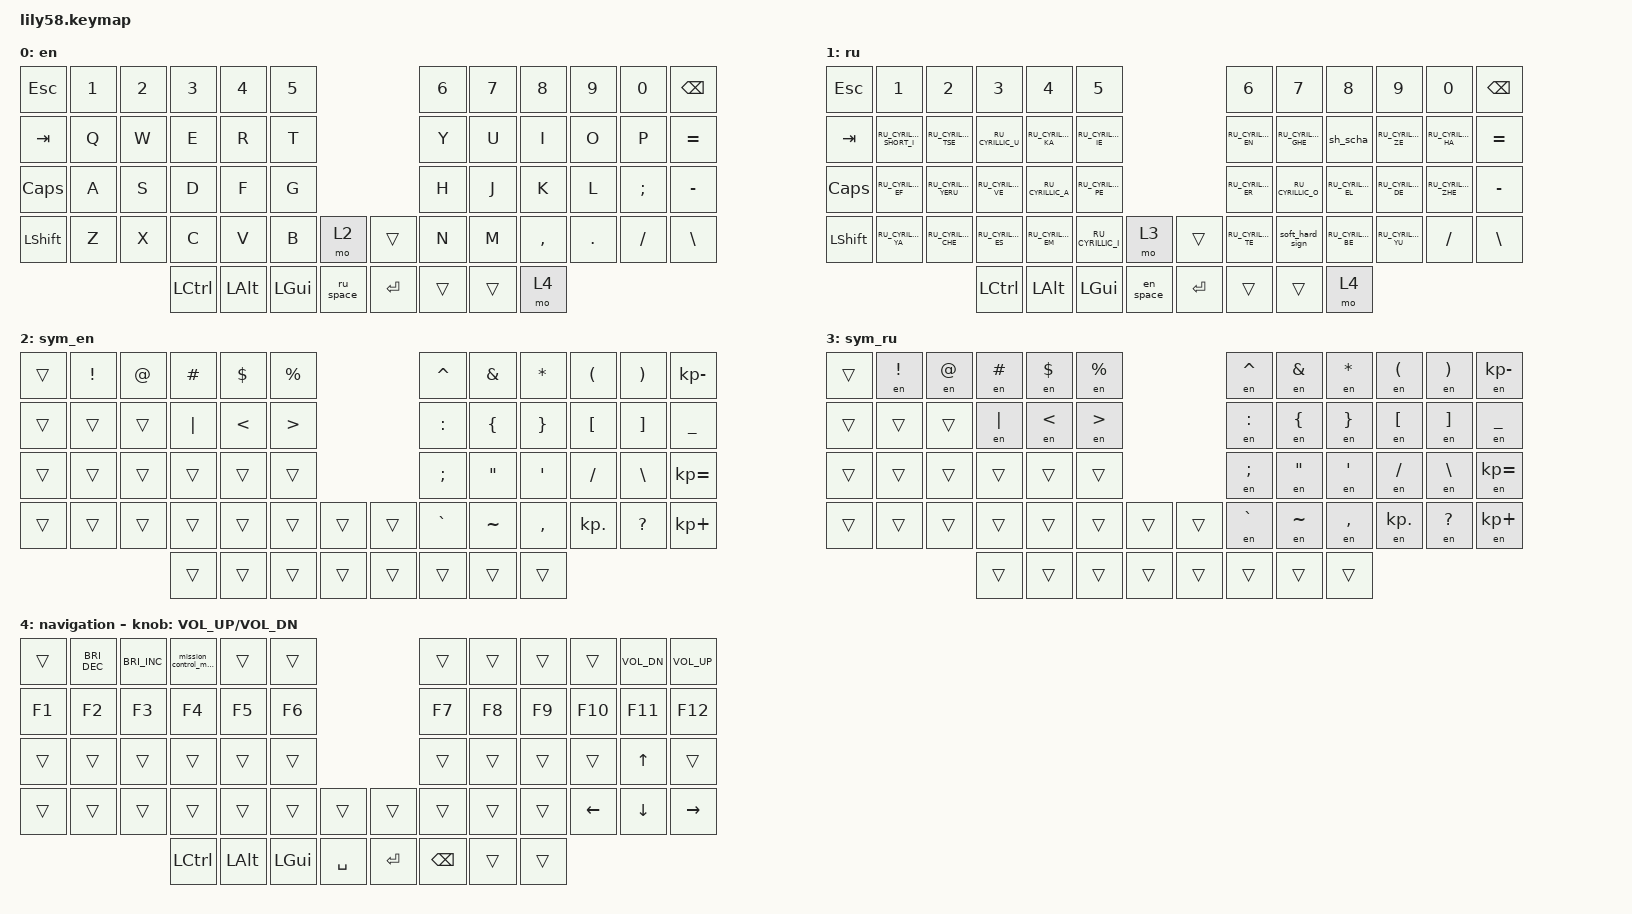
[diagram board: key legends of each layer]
/*
 * Copyright (c) 2020 The ZMK Contributors
 *
 * SPDX-License-Identifier: MIT
 */

#include "keys_ru.h"
#include <behaviors.dtsi>
#include <dt-bindings/zmk/keys.h>

&mt {
    tapping-term-ms = <300>;
    flavor = "tap-preferred";
};

/ {
    combos { compatible = "zmk,combos"; };

    behaviors {
        ss_hs_modmorph: ss_hs_modmorph {
            compatible = "zmk,behavior-mod-morph";
            label = "SS_HS_MODMORPH";
            bindings = <&kp M>, <&kp RIGHT_BRACKET>;

            #binding-cells = <0>;
            mods = <(MOD_LSFT|MOD_RSFT)>;
        };

        kh_hs_tapdance: kh_hs_tapdance {
            compatible = "zmk,behavior-tap-dance";
            label = "KH_HS_TAPDANCE";
            #binding-cells = <0>;
            tapping-term-ms = <200>;
            bindings = <&kp LEFT_BRACKET>, <&kp RIGHT_BRACKET>;
        };

        hrm: hrm {
            compatible = "zmk,behavior-hold-tap";
            #binding-cells = <2>;
            flavor = "tap-preferred";
            tapping-term-ms = <200>;
            quick-tap-ms = <200>;
            require-prior-idle-ms = <125>;
            bindings = <&kp>, <&kp>;
        };

        sh_scha: sh_scha {
            compatible = "zmk,behavior-tap-dance";
            label = "SH_SCHA";
            #binding-cells = <0>;
            bindings = <&kp RU_CYRILLIC_SHA>, <&kp RU_CYRILLIC_SHCHA>;
        };

        soft_hard_sign: soft_hard_sign {
            compatible = "zmk,behavior-tap-dance";
            label = "SOFT_HARD_SIGN";
            #binding-cells = <0>;
            bindings = <&kp RU_CYRILLIC_SOFT_SIGN>, <&kp RU_CYRILLIC_HARD_SIGN>;
        };

        en_space: en_space {
            compatible = "zmk,behavior-mod-morph";
            label = "EN_SPACE";
            bindings = <&kp SPACE>, <&layer_en>;

            #binding-cells = <0>;
            mods = <(MOD_LGUI)>;
        };

        ru_space: ru_space {
            compatible = "zmk,behavior-mod-morph";
            label = "RU_SPACE";
            bindings = <&kp SPACE>, <&layer_ru>;

            #binding-cells = <0>;
            mods = <(MOD_LGUI)>;
        };
    };

    macros {
        mission_control_mac_os: mission_control_mac_os {
            compatible = "zmk,behavior-macro";
            #binding-cells = <0>;
            bindings =
                <&macro_press>,
                <&kp LCTRL &kp UP_ARROW>,
                <&macro_release>,
                <&kp LCTRL &kp UP_ARROW>;

            label = "MISSION_CONTROL_MAC_OS";
        };

        to_ru: to_ru {
            compatible = "zmk,behavior-macro";
            #binding-cells = <0>;
            bindings = <&kp LC(LS(NUMBER_2))>;
            label = "TO_RU";
        };

        to_en: to_en {
            compatible = "zmk,behavior-macro";
            #binding-cells = <0>;
            bindings = <&kp LS(LC(N1))>;
            label = "TO_EN";
        };

        layer_en: layer_en {
            compatible = "zmk,behavior-macro";
            #binding-cells = <0>;
            bindings = <&to 0 &to_en>;
            label = "LAYER_EN";
        };

        layer_ru: layer_ru {
            compatible = "zmk,behavior-macro";
            #binding-cells = <0>;
            bindings = <&to 1 &to_ru>;
            label = "LAYER_RU";
        };

        lg_tog: lg_tog {
            compatible = "zmk,behavior-macro";
            #binding-cells = <0>;
            bindings = <&kp LG(SPACE) &tog 1>;
            label = "LG_TOG";
        };

        en: en {
            compatible = "zmk,behavior-macro-one-param";
            #binding-cells = <1>;
            bindings =
                <&to_en &macro_param_1to1 &kp MACRO_PLACEHOLDER>,
                <&macro_wait_time 5>,
                <&to_ru>,
                <&macro_wait_time 5>;

            label = "EN";
        };
    };

    keymap {
        compatible = "zmk,keymap";

        en {
            // ------------------------------------------------------------------------------------------------------------
            // |  ESC  |  1  |  2  |  3   |  4   |  5   |                   |  6   |  7    |  8    |  9   |   0   |   `   |
            // |  TAB  |  Q  |  W  |  E   |  R   |  T   |                   |  Y   |  U    |  I    |  O   |   P   |   -   |
            // |  CTRL |  A  |  S  |  D   |  F   |  G   |                   |  H   |  J    |  K    |  L   |   ;   |   '   |
            // | SHIFT |  Z  |  X  |  C   |  V   |  B   |   "["  |  |  "]"  |  N   |  M    |  ,    |  .   |   /   | SHIFT |
            //                     | ALT  | GUI  | LOWER|  SPACE |  | ENTER | RAISE| BSPC  | GUI   |

            bindings = <
&kp ESC         &kp N1  &kp N2  &kp N3     &kp N4    &kp N5                          &kp N6  &kp N7  &kp N8     &kp N9   &kp N0    &kp BACKSPACE
&kp TAB         &kp Q   &kp W   &kp E      &kp R     &kp T                           &kp Y   &kp U   &kp I      &kp O    &kp P     &kp EQUAL
&kp CAPS        &kp A   &kp S   &kp D      &kp F     &kp G                           &kp H   &kp J   &kp K      &kp L    &kp SEMI  &kp MINUS
&kp LEFT_SHIFT  &kp Z   &kp X   &kp C      &kp V     &kp B     &mo 2        &trans   &kp N   &kp M   &kp COMMA  &kp DOT  &kp FSLH  &kp BACKSLASH
                                &kp LCTRL  &kp LALT  &kp LGUI  &ru_space    &kp RET  &trans  &trans  &mo 4
            >;
        };

        ru {
            bindings = <
&kp ESC       &kp N1                   &kp N2                &kp N3              &kp N4              &kp N5                                    &kp N6              &kp N7               &kp N8              &kp N9              &kp N0               &kp BACKSPACE
&kp TAB       &kp RU_CYRILLIC_SHORT_I  &kp RU_CYRILLIC_TSE   &kp RU_CYRILLIC_U   &kp RU_CYRILLIC_KA  &kp RU_CYRILLIC_IE                        &kp RU_CYRILLIC_EN  &kp RU_CYRILLIC_GHE  &sh_scha            &kp RU_CYRILLIC_ZE  &kp RU_CYRILLIC_HA   &kp EQUAL
&kp CAPSLOCK  &kp RU_CYRILLIC_EF       &kp RU_CYRILLIC_YERU  &kp RU_CYRILLIC_VE  &kp RU_CYRILLIC_A   &kp RU_CYRILLIC_PE                        &kp RU_CYRILLIC_ER  &kp RU_CYRILLIC_O    &kp RU_CYRILLIC_EL  &kp RU_CYRILLIC_DE  &kp RU_CYRILLIC_ZHE  &kp MINUS
&kp LSHIFT    &kp RU_CYRILLIC_YA       &kp RU_CYRILLIC_CHE   &kp RU_CYRILLIC_ES  &kp RU_CYRILLIC_EM  &kp RU_CYRILLIC_I   &mo 3        &trans   &kp RU_CYRILLIC_TE  &soft_hard_sign      &kp RU_CYRILLIC_BE  &kp RU_CYRILLIC_YU  &kp FSLH             &kp BACKSLASH
                                                             &kp LCTRL           &kp LALT            &kp LGUI            &en_space    &kp RET  &trans              &trans               &mo 4
            >;
        };

        sym_en {
            bindings = <
&trans  &kp EXCL  &kp AT  &kp HASH  &kp DOLLAR     &kp PERCENT                         &kp CARET      &kp AMPERSAND   &kp ASTERISK     &kp LPAR          &kp RPAR           &kp KP_MINUS
&trans  &trans    &trans  &kp PIPE  &kp LESS_THAN  &kp GREATER_THAN                    &kp COLON      &kp LEFT_BRACE  &kp RIGHT_BRACE  &kp LEFT_BRACKET  &kp RIGHT_BRACKET  &kp UNDERSCORE
&trans  &trans    &trans  &trans    &trans         &trans                              &kp SEMICOLON  &kp DQT         &kp SQT          &kp FSLH          &kp BSLH           &kp KP_EQUAL
&trans  &trans    &trans  &trans    &trans         &trans            &trans    &trans  &kp GRAVE      &kp TILDE       &kp COMMA        &kp KP_DOT        &kp QMARK          &kp KP_PLUS
                          &trans    &trans         &trans            &trans    &trans  &trans         &trans          &trans
            >;
        };

        sym_ru {
            bindings = <
&trans  &en EXCL  &en AT  &en HASH  &en DOLLAR     &en PERCENT                         &en CARET      &en AMPERSAND   &en ASTERISK     &en LPAR          &en RPAR           &en KP_MINUS
&trans  &trans    &trans  &en PIPE  &en LESS_THAN  &en GREATER_THAN                    &en COLON      &en LEFT_BRACE  &en RIGHT_BRACE  &en LEFT_BRACKET  &en RIGHT_BRACKET  &en UNDERSCORE
&trans  &trans    &trans  &trans    &trans         &trans                              &en SEMICOLON  &en DQT         &en SQT          &en FSLH          &en BSLH           &en KP_EQUAL
&trans  &trans    &trans  &trans    &trans         &trans            &trans    &trans  &en GRAVE      &en TILDE       &en COMMA        &en KP_DOT        &en QMARK          &en KP_PLUS
                          &trans    &trans         &trans            &trans    &trans  &trans         &trans          &trans
            >;
        };

        navigation {
            // ------------------------------------------------------------------------------------------------------------
            // | BTCLR | BT1 | BT2 |  BT3 |  BT4 |  BT5 |                   |      |       |       |      |       |       |
            // |  F1   |  F2 |  F3 |  F4  |  F5  |  F6  |                   |  F7  |  F8   |  F9   |  F10 |  F11  |  F12  |
            // |   `   |  !  |  @  |  #   |  $   |  %   |                   |  ^   |  &    |  *    |  (   |   )   |   ~   |
            // |       |     |     |      |      |      |        |  |       |      |  _    |  +    |  {   |   }   |  "|"  |
            //                     |      |      |      |        |  |       |      |       |       |

            bindings = <
&trans  &kp C_BRIGHTNESS_DEC  &kp C_BRIGHTNESS_INC  &mission_control_mac_os  &trans    &trans                          &trans         &trans  &trans  &trans    &kp C_VOL_DN  &kp C_VOL_UP
&kp F1  &kp F2                &kp F3                &kp F4                   &kp F5    &kp F6                          &kp F7         &kp F8  &kp F9  &kp F10   &kp F11       &kp F12
&trans  &trans                &trans                &trans                   &trans    &trans                          &trans         &trans  &trans  &trans    &kp UP        &trans
&trans  &trans                &trans                &trans                   &trans    &trans    &trans       &trans   &trans         &trans  &trans  &kp LEFT  &kp DOWN      &kp RIGHT
                                                    &kp LCTRL                &kp LALT  &kp LGUI  &kp SPACE    &kp RET  &kp BACKSPACE  &trans  &trans
            >;

            sensor-bindings = <&inc_dec_kp C_VOL_UP C_VOL_DN>;
        };
    };
};
